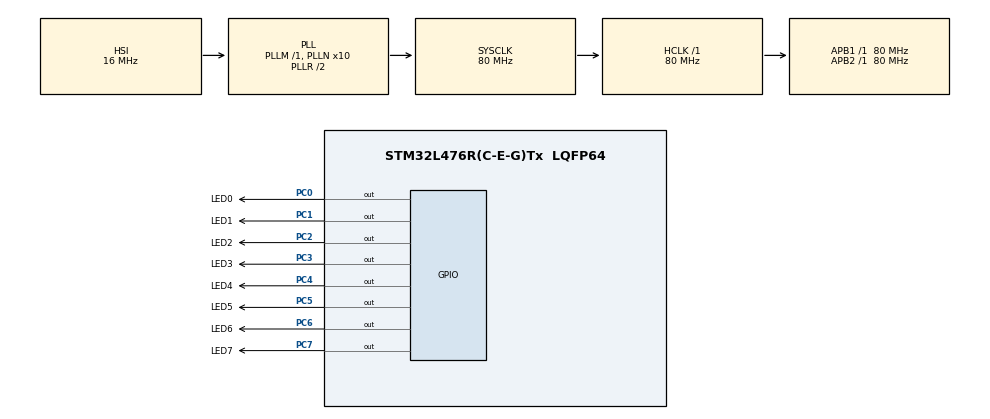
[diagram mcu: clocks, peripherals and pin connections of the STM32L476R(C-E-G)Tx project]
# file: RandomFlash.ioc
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Mcu.Family=STM32L4
Mcu.Name=STM32L476R(C-E-G)Tx
Mcu.Package=LQFP64
NVIC.PriorityGroup=NVIC_PRIORITYGROUP_4
PC0.GPIO_Label=LED0
PC0.Signal=GPIO_Output
PC1.GPIO_Label=LED1
PC1.Signal=GPIO_Output
PC2.GPIO_Label=LED2
PC2.Signal=GPIO_Output
PC3.GPIO_Label=LED3
PC3.Signal=GPIO_Output
PC4.GPIO_Label=LED4
PC4.Signal=GPIO_Output
PC5.GPIO_Label=LED5
PC5.Signal=GPIO_Output
PC6.GPIO_Label=LED6
PC6.Signal=GPIO_Output
PC7.GPIO_Label=LED7
PC7.Signal=GPIO_Output
PH0-OSC_IN\ (PH0).Mode=HSE-External-Oscillator
PH0-OSC_IN\ (PH0).Signal=RCC_OSC_IN
PH1-OSC_OUT\ (PH1).Mode=HSE-External-Oscillator
PH1-OSC_OUT\ (PH1).Signal=RCC_OSC_OUT
ProjectManager.HeapSize=0x200
ProjectManager.StackSize=0x400
ProjectManager.TargetToolchain=STM32CubeIDE
RCC.ADCFreq_Value=64000000
RCC.AHBFreq_Value=80000000
RCC.APB1Freq_Value=80000000
RCC.APB1TimFreq_Value=80000000
RCC.APB2Freq_Value=80000000
RCC.APB2TimFreq_Value=80000000
RCC.CortexFreq_Value=80000000
RCC.HCLKFreq_Value=80000000
RCC.HSE_VALUE=8000000
RCC.HSI_VALUE=16000000
RCC.LSE_VALUE=32768
RCC.MSI_VALUE=4000000
RCC.PLLN=10
RCC.PLLSourceVirtual=RCC_PLLSOURCE_HSI
RCC.SYSCLKFreq_VALUE=80000000
RCC.SYSCLKSource=RCC_SYSCLKSOURCE_PLLCLK
RCC.USBFreq_Value=64000000
RCC.VCOOutputFreq_Value=160000000
board=custom

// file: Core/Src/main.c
/* USER CODE BEGIN Header */
/**
  ******************************************************************************
  * @file           : main.c
  * @brief          : Main program body
  ******************************************************************************
  * @attention
  *
  * Copyright (c) 2024 STMicroelectronics.
  * All rights reserved.
  *
  * This software is licensed under terms that can be found in the LICENSE file
  * in the root directory of this software component.
  * If no LICENSE file comes with this software, it is provided AS-IS.
  *
  ******************************************************************************
  */
/* USER CODE END Header */
#include "main.h"
#include "math.h"
#include "stdlib.h"

void SystemClock_Config(void);
static void MX_GPIO_Init(void);
/* USER CODE BEGIN PFP */
int LED[]={LED0_Pin,LED1_Pin,LED2_Pin,LED3_Pin,LED4_Pin,LED5_Pin,LED6_Pin,LED7_Pin};

  void Display(int No, int L)
  {
	  int j, m, i;
	  m = L-1;
	  for (i=0;i<L;i++)
	  {
		  j=pow(2.0,m);
		  if((No & j) != 0)
		  {
			  HAL_GPIO_WritePin(GPIOC, LED[i], 1);
		  }else
		  {
			  HAL_GPIO_WritePin(GPIOC, LED[i], 0);
		  }
		  m--;
	  }
  }
/* USER CODE END PFP */

int main(void)
{
  /* USER CODE BEGIN 1 */
int r;
  /* USER CODE END 1 */

  /* MCU Configuration--------------------------------------------------------*/

  /* Reset of all peripherals, Initializes the Flash interface and the Systick. */
  HAL_Init();

  /* Configure the system clock */
  SystemClock_Config();

  /* Initialize all configured peripherals */
  MX_GPIO_Init();
  /* USER CODE BEGIN 2 */
  int LED[]={LED0_Pin,LED1_Pin,LED2_Pin,LED3_Pin,LED4_Pin,LED5_Pin,LED6_Pin,LED7_Pin};
  /* USER CODE END 2 */

  /* Infinite loop */
  /* USER CODE BEGIN WHILE */
  while (1)
  {

	  r=rand() % 255;
	  Display(r, 8);
	  HAL_Delay(200);
    /* USER CODE END WHILE */

  }
}

void SystemClock_Config(void)
{
  RCC_OscInitTypeDef RCC_OscInitStruct = {0};
  RCC_ClkInitTypeDef RCC_ClkInitStruct = {0};

  /** Configure the main internal regulator output voltage
  */
  if (HAL_PWREx_ControlVoltageScaling(PWR_REGULATOR_VOLTAGE_SCALE1) != HAL_OK)
  {
    Error_Handler();
  }

  /** Initializes the RCC Oscillators according to the specified parameters
  * in the RCC_OscInitTypeDef structure.
  */
  RCC_OscInitStruct.OscillatorType = RCC_OSCILLATORTYPE_HSI;
  RCC_OscInitStruct.HSIState = RCC_HSI_ON;
  RCC_OscInitStruct.HSICalibrationValue = RCC_HSICALIBRATION_DEFAULT;
  RCC_OscInitStruct.PLL.PLLState = RCC_PLL_ON;
  RCC_OscInitStruct.PLL.PLLSource = RCC_PLLSOURCE_HSI;
  RCC_OscInitStruct.PLL.PLLM = 1;
  RCC_OscInitStruct.PLL.PLLN = 10;
  RCC_OscInitStruct.PLL.PLLP = RCC_PLLP_DIV7;
  RCC_OscInitStruct.PLL.PLLQ = RCC_PLLQ_DIV2;
  RCC_OscInitStruct.PLL.PLLR = RCC_PLLR_DIV2;
  if (HAL_RCC_OscConfig(&RCC_OscInitStruct) != HAL_OK)
  {
    Error_Handler();
  }

  /** Initializes the CPU, AHB and APB buses clocks
  */
  RCC_ClkInitStruct.ClockType = RCC_CLOCKTYPE_HCLK|RCC_CLOCKTYPE_SYSCLK
                              |RCC_CLOCKTYPE_PCLK1|RCC_CLOCKTYPE_PCLK2;
  RCC_ClkInitStruct.SYSCLKSource = RCC_SYSCLKSOURCE_PLLCLK;
  RCC_ClkInitStruct.AHBCLKDivider = RCC_SYSCLK_DIV1;
  RCC_ClkInitStruct.APB1CLKDivider = RCC_HCLK_DIV1;
  RCC_ClkInitStruct.APB2CLKDivider = RCC_HCLK_DIV1;

  if (HAL_RCC_ClockConfig(&RCC_ClkInitStruct, FLASH_LATENCY_4) != HAL_OK)
  {
    Error_Handler();
  }
}

static void MX_GPIO_Init(void)
{
  GPIO_InitTypeDef GPIO_InitStruct = {0};

  /* GPIO Ports Clock Enable */
  __HAL_RCC_GPIOH_CLK_ENABLE();
  __HAL_RCC_GPIOC_CLK_ENABLE();

  /*Configure GPIO pin Output Level */
  HAL_GPIO_WritePin(GPIOC, LED0_Pin|LED1_Pin|LED2_Pin|LED3_Pin
                          |LED4_Pin|LED5_Pin|LED6_Pin|LED7_Pin, GPIO_PIN_RESET);

  /*Configure GPIO pins : LED0_Pin LED1_Pin LED2_Pin LED3_Pin
                           LED4_Pin LED5_Pin LED6_Pin LED7_Pin */
  GPIO_InitStruct.Pin = LED0_Pin|LED1_Pin|LED2_Pin|LED3_Pin
                          |LED4_Pin|LED5_Pin|LED6_Pin|LED7_Pin;
  GPIO_InitStruct.Mode = GPIO_MODE_OUTPUT_PP;
  GPIO_InitStruct.Pull = GPIO_NOPULL;
  GPIO_InitStruct.Speed = GPIO_SPEED_FREQ_LOW;
  HAL_GPIO_Init(GPIOC, &GPIO_InitStruct);

}

void Error_Handler(void)
{
  __disable_irq();
  while (1)
  {
  }
}
